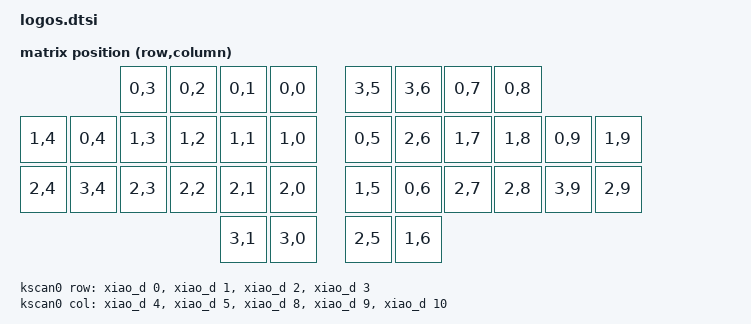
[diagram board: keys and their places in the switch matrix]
#include <dt-bindings/zmk/matrix_transform.h>
#include <physical_layouts.dtsi>

/ {
    chosen {
        zmk,kscan = &kscan0;
        zmk,physical-layout = &physical_layout0;
    };

    kscan0: kscan0 {
        compatible = "zmk,kscan-gpio-matrix";

        diode-direction = "col2row";

        row-gpios
            = <&xiao_d 0 (GPIO_ACTIVE_HIGH | GPIO_PULL_DOWN)>
            , <&xiao_d 1 (GPIO_ACTIVE_HIGH | GPIO_PULL_DOWN)>
            , <&xiao_d 2 (GPIO_ACTIVE_HIGH | GPIO_PULL_DOWN)>
            , <&xiao_d 3 (GPIO_ACTIVE_HIGH | GPIO_PULL_DOWN)>
            ;

        col-gpios
            = <&xiao_d 4 (GPIO_ACTIVE_HIGH | GPIO_PULL_DOWN)>
            , <&xiao_d 5 (GPIO_ACTIVE_HIGH | GPIO_PULL_DOWN)>
            , <&xiao_d 8 (GPIO_ACTIVE_HIGH | GPIO_PULL_DOWN)>
            , <&xiao_d 9 (GPIO_ACTIVE_HIGH | GPIO_PULL_DOWN)>
            , <&xiao_d 10 (GPIO_ACTIVE_HIGH | GPIO_PULL_DOWN)>
            ;
    };

    keymap_transform_0: keymap_transform_0 {
        compatible = "zmk,matrix-transform";

        columns = <10>;
        rows = <5>;
        map = <
                            RC(0,3) RC(0,2) RC(0,1) RC(0,0)   RC(3,5) RC(3,6) RC(0,7) RC(0,8)
            RC(1,4) RC(0,4) RC(1,3) RC(1,2) RC(1,1) RC(1,0)   RC(0,5) RC(2,6) RC(1,7) RC(1,8) RC(0,9) RC(1,9) 
            RC(2,4) RC(3,4) RC(2,3) RC(2,2) RC(2,1) RC(2,0)   RC(1,5) RC(0,6) RC(2,7) RC(2,8) RC(3,9) RC(2,9)
                                            RC(3,1) RC(3,0)   RC(2,5) RC(1,6) 
        >;
    };

    physical_layout0: physical_layout_0 {
        compatible = "zmk,physical-layout";

        display-name = "Default layout";
        transform = <&keymap_transform_0>; 
        kscan = <&kscan0>;
        keys  //                     w    h     x     y   rot   rx   ry
            //
            // TOP ROW  (left: pinky→index, right: index→pinky)
            //
            = <&key_physical_attrs 100 100  200    0     0    0    0>  // k0  RC(0,3) L top-pinky
            , <&key_physical_attrs 100 100  300    0     0    0    0>  // k1  RC(0,2) L top-ring
            , <&key_physical_attrs 100 100  400    0     0    0    0>  // k2  RC(0,1) L top-middle
            , <&key_physical_attrs 100 100  500    0     0    0    0>  // k3  RC(0,0) L top-index
            , <&key_physical_attrs 100 100  650    0     0    0    0>  // k4  RC(3,5) R top-index
            , <&key_physical_attrs 100 100  750    0     0    0    0>  // k5  RC(3,6) R top-middle
            , <&key_physical_attrs 100 100  850    0     0    0    0>  // k6  RC(0,7) R top-ring
            , <&key_physical_attrs 100 100  950    0     0    0    0>  // k7  RC(0,8) R top-pinky
            //
            // HOME ROW  (cluster pair first on each side, then pinky→index / index→pinky)
            //
            , <&key_physical_attrs 100 100    0  100     0    0    0>  // k8  RC(1,4) L cluster-home upper
            , <&key_physical_attrs 100 100  100  100     0    0    0>  // k9  RC(0,4) L cluster-home lower
            , <&key_physical_attrs 100 100  200  100     0    0    0>  // k10 RC(1,3) L home-pinky
            , <&key_physical_attrs 100 100  300  100     0    0    0>  // k11 RC(1,2) L home-ring
            , <&key_physical_attrs 100 100  400  100     0    0    0>  // k12 RC(1,1) L home-middle
            , <&key_physical_attrs 100 100  500  100     0    0    0>  // k13 RC(1,0) L home-index
            , <&key_physical_attrs 100 100  650  100     0    0    0>  // k14 RC(0,5) R home-index
            , <&key_physical_attrs 100 100  750  100     0    0    0>  // k15 RC(2,6) R home-middle
            , <&key_physical_attrs 100 100  850  100     0    0    0>  // k16 RC(1,7) R home-ring
            , <&key_physical_attrs 100 100  950  100     0    0    0>  // k17 RC(1,8) R home-pinky
            , <&key_physical_attrs 100 100 1050  100     0    0    0>  // k18 RC(0,9) R cluster-home upper
            , <&key_physical_attrs 100 100 1150  100     0    0    0>  // k19 RC(1,9) R cluster-home lower
            //
            // BOTTOM ROW  (cluster pair first on each side, then pinky→index / index→pinky)
            //
            , <&key_physical_attrs 100 100    0  200     0    0    0>  // k20 RC(2,4) L cluster-bot upper
            , <&key_physical_attrs 100 100  100  200     0    0    0>  // k21 RC(3,4) L cluster-bot lower
            , <&key_physical_attrs 100 100  200  200     0    0    0>  // k22 RC(2,3) L bot-pinky
            , <&key_physical_attrs 100 100  300  200     0    0    0>  // k23 RC(2,2) L bot-ring
            , <&key_physical_attrs 100 100  400  200     0    0    0>  // k24 RC(2,1) L bot-middle
            , <&key_physical_attrs 100 100  500  200     0    0    0>  // k25 RC(2,0) L bot-index
            , <&key_physical_attrs 100 100  650  200     0    0    0>  // k26 RC(1,5) R bot-index
            , <&key_physical_attrs 100 100  750  200     0    0    0>  // k27 RC(0,6) R bot-middle
            , <&key_physical_attrs 100 100  850  200     0    0    0>  // k28 RC(2,7) R bot-ring
            , <&key_physical_attrs 100 100  950  200     0    0    0>  // k29 RC(2,8) R bot-pinky
            , <&key_physical_attrs 100 100 1050  200     0    0    0>  // k30 RC(3,9) R cluster-bot upper
            , <&key_physical_attrs 100 100 1150  200     0    0    0>  // k31 RC(2,9) R cluster-bot lower
            //
            // THUMB ROW  (left: outer→inner, right: inner→outer)
            //
            , <&key_physical_attrs 100 100  400  300     0    0    0>  // k32 RC(3,1) L thumb-outer
            , <&key_physical_attrs 100 100  500  300     0    0    0>  // k33 RC(3,0) L thumb-inner
            , <&key_physical_attrs 100 100  650  300     0    0    0>  // k34 RC(2,5) R thumb-inner
            , <&key_physical_attrs 100 100  750  300     0    0    0>  // k35 RC(1,6) R thumb-outer
            ;
    };

    wired_split: wired_split {
        compatible = "zmk,wired-split";
        device = <&xiao_serial>;
    };
};

&xiao_serial {
    status = "okay";
};
